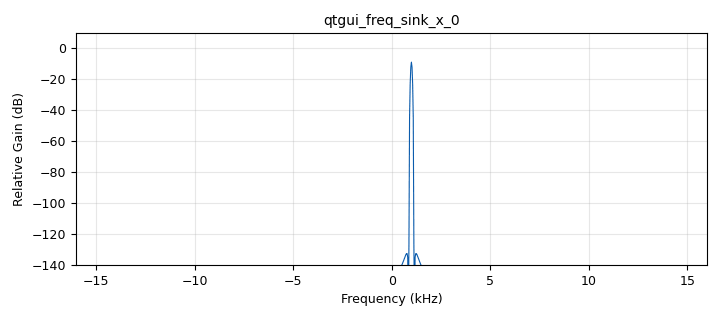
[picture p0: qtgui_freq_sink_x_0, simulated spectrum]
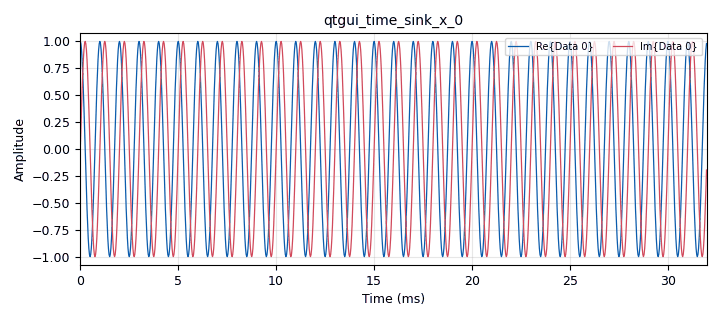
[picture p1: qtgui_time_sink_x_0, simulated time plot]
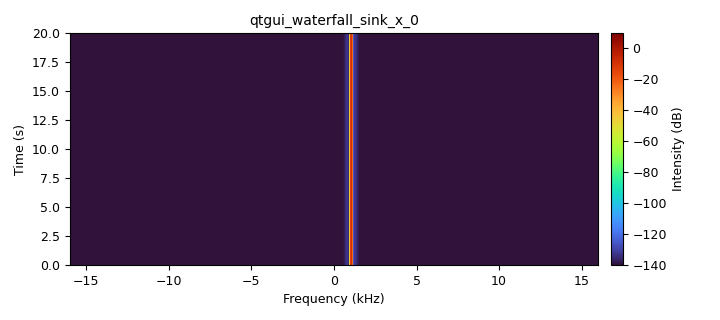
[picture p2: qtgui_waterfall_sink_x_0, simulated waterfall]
options:
  parameters:
    generate_options: qt_gui
    id: test_cpp_mako
    output_language: cpp
    template_engine: jinja
    title: Test C++ Jinja
  states: {}

blocks:
- name: samp_rate
  id: variable
  parameters:
    value: '32000'
  states: {}
- name: analog_sig_source_x_0
  id: analog_sig_source_x
  parameters:
    amp: '1'
    freq: '1000'
    offset: '0'
    phase: '0'
    samp_rate: samp_rate
    type: complex
    waveform: analog.GR_COS_WAVE
  states: {}
- name: qtgui_freq_sink_x_0
  id: qtgui_freq_sink_x
  parameters:
    bw: samp_rate
    fc: '0'
    fftsize: '1024'
    type: complex
  states: {}
- name: qtgui_time_sink_x_0
  id: qtgui_time_sink_x
  parameters:
    size: '1024'
    srate: samp_rate
    type: complex
  states: {}
- name: qtgui_waterfall_sink_x_0
  id: qtgui_waterfall_sink_x
  parameters:
    bw: samp_rate
    fc: '0'
    fftsize: '1024'
    type: complex
  states: {}

connections:
- [analog_sig_source_x_0, '0', qtgui_freq_sink_x_0, '0']
- [analog_sig_source_x_0, '0', qtgui_time_sink_x_0, '0']
- [analog_sig_source_x_0, '0', qtgui_waterfall_sink_x_0, '0']

metadata:
  file_format: 1
  grc_version: v3.11.0.0git-801-gc697ab87
